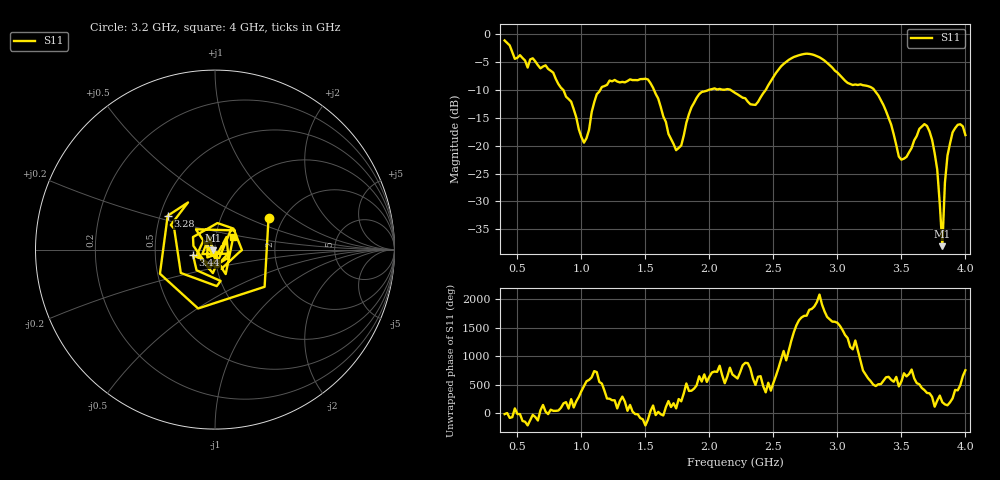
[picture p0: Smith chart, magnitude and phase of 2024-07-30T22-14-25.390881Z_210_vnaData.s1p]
!Created with skrf (http://scikit-rf.org).
# Hz S RI R 50.0
!freq ReS11 ImS11
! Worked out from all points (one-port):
!   181 points, 400 MHz to 4 GHz, reference 50 ohm
!   lowest |S11| = -38.0 dB at 3.82 GHz (marker M1), VSWR 1.03, Z = 48.8 - j0.337 ohm
!   |S11| at or under -10 dB: 857.5 MHz to 1.148 GHz (290 MHz wide, 28.9 % of centre); 1.567 GHz to 1.996 GHz (429.6 MHz wide, 24.1 % of centre); 3.287 GHz to end of sweep (the widest 3 of 4)
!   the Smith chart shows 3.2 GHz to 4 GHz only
!   S11 on the Smith chart (normalised r, x): 3.2 GHz: 1.68, +0.68; 3.28 GHz: 0.55, +0.23; 3.44 GHz: 0.78, -0.05; 4 GHz: 1.21, +0.18
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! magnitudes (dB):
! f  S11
! 400 MHz  -1.1
! 480 MHz  -4.4
! 720 MHz  -5.6
! 860 MHz  -10.1
! 1.02 GHz  -19.5
! 1.12 GHz  -10.8
! 1.3 GHz  -8.7
! 1.52 GHz  -8.1
! 1.76 GHz  -20.4
! 1.92 GHz  -10.8
! 2.2 GHz  -10.5
! 2.36 GHz  -12.7
! 2.66 GHz  -4.1
! 2.86 GHz  -4.2
! 3.1 GHz  -8.9
! 3.2 GHz  -9.2
! 3.28 GHz  -9.8
! 3.44 GHz  -18.0
! 3.5 GHz  -22.5
! 3.56 GHz  -21.2
! 3.64 GHz  -17.0
! 3.72 GHz  -17.5
! 3.78 GHz  -24.3
! 3.82 GHz  -38.0
! 3.84 GHz  -26.7
! 3.86 GHz  -21.8
! 3.94 GHz  -16.3
! 4 GHz  -18.1
